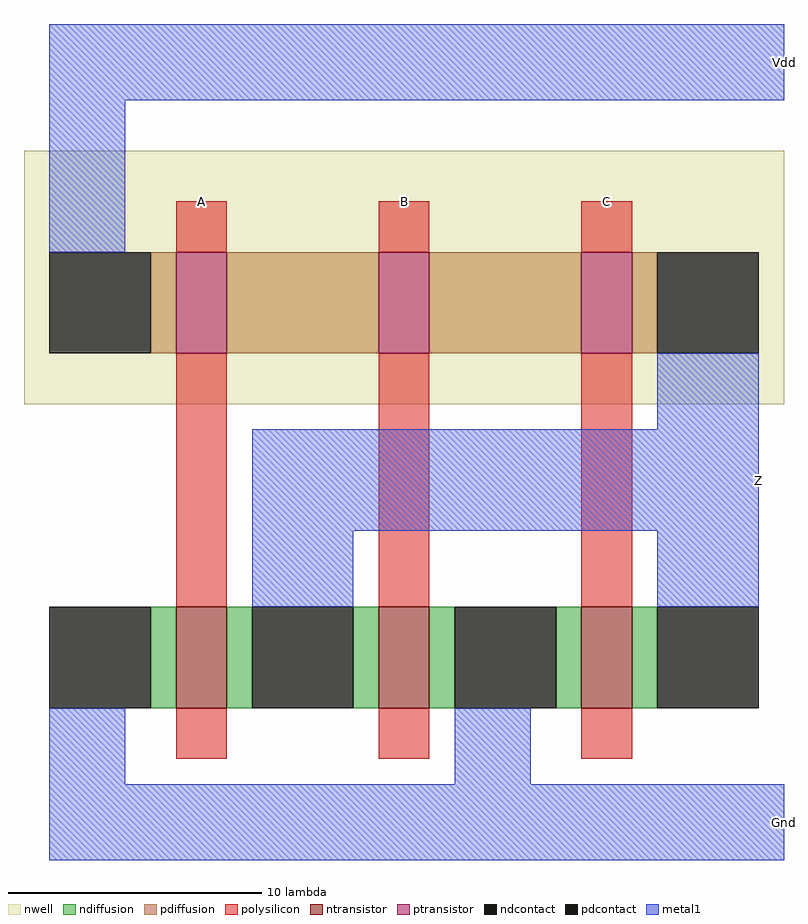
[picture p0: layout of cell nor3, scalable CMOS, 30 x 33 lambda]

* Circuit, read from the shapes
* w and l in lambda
.subckt nor3 A B C Gnd Vdd Z
M1 Z A Gnd VSUBS nfet w=4 l=2
M2 Gnd B Z VSUBS nfet w=4 l=2
M3 Z C Gnd VSUBS nfet w=4 l=2
M4 n1 A Vdd n2 pfet w=4 l=2
M5 n3 B n1 n2 pfet w=4 l=2
M6 Z C n3 n2 pfet w=4 l=2
.ends

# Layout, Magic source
magic
tech scmos
<< nwell >>
rect -10 3 20 13
<< polysilicon >>
rect -4 9 -2 11
rect 4 9 6 11
rect 12 9 14 11
rect -4 -5 -2 5
rect 4 -5 6 5
rect 12 -5 14 5
rect -4 -11 -2 -9
rect 4 -11 6 -9
rect 12 -11 14 -9
<< ndiffusion >>
rect -5 -9 -4 -5
rect -2 -9 -1 -5
rect 3 -9 4 -5
rect 6 -9 7 -5
rect 11 -9 12 -5
rect 14 -9 15 -5
<< pdiffusion >>
rect -5 5 -4 9
rect -2 5 4 9
rect 6 5 12 9
rect 14 5 15 9
<< metal1 >>
rect -9 15 20 18
rect -9 9 -6 15
rect 15 2 19 5
rect -1 -2 19 2
rect -1 -5 3 -2
rect 15 -5 19 -2
rect -9 -12 -6 -9
rect 7 -12 10 -9
rect -9 -15 20 -12
<< ntransistor >>
rect -4 -9 -2 -5
rect 4 -9 6 -5
rect 12 -9 14 -5
<< ptransistor >>
rect -4 5 -2 9
rect 4 5 6 9
rect 12 5 14 9
<< ndcontact >>
rect -9 -9 -5 -5
rect -1 -9 3 -5
rect 7 -9 11 -5
rect 15 -9 19 -5
<< pdcontact >>
rect -9 5 -5 9
rect 15 5 19 9
<< labels >>
rlabel polysilicon -4 11 -2 11 1 A
rlabel polysilicon 4 11 6 11 1 B
rlabel polysilicon 12 11 14 11 1 C
rlabel metal1 19 -2 19 2 3 Z
rlabel metal1 20 15 20 18 6 Vdd
rlabel metal1 20 -15 20 -12 8 Gnd
<< end >>
